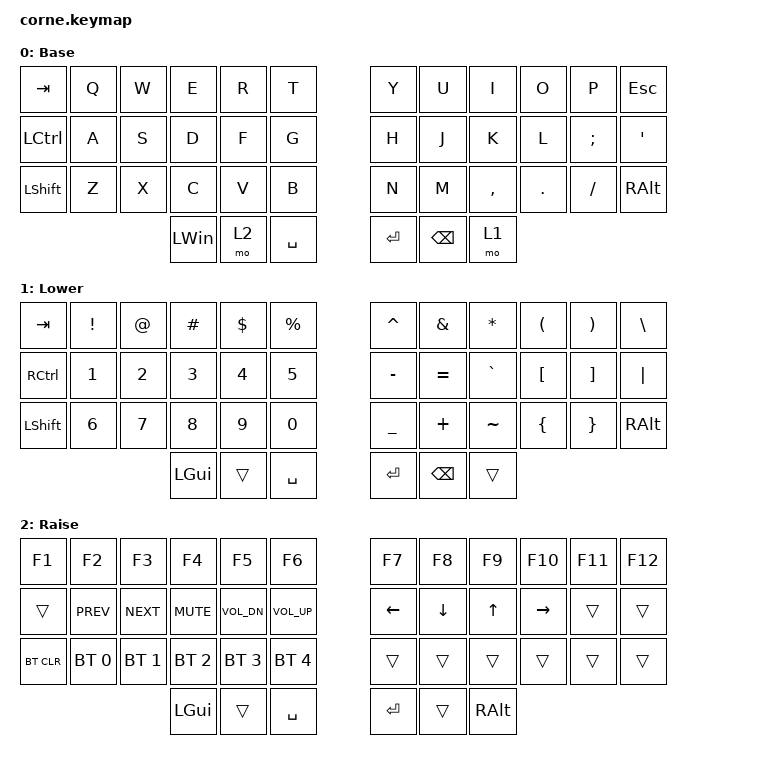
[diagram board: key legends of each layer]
/*
 * Copyright (c) 2020 The ZMK Contributors
 *
 * SPDX-License-Identifier: MIT
 */

#include <behaviors.dtsi>
#include <dt-bindings/zmk/bt.h>
#include <dt-bindings/zmk/keys.h>

/ {
    keymap {
        compatible = "zmk,keymap";

        default_layer {
            // -----------------------------------------------------------------------------------------
            // |  TAB |  Q  |  W  |  E  |  R  |  T  |   |  Y  |  U   |  I  |  O  |  P  | BKSP |
            // | CTRL |  A  |  S  |  D  |  F  |  G  |   |  H  |  J   |  K  |  L  |  ;  |  '   |
            // | SHFT |  Z  |  X  |  C  |  V  |  B  |   |  N  |  M   |  ,  |  .  |  /  | ESC  |
            //                    | GUI | LWR | SPC |   | ENT | RSE  | ALT |

            display-name = "Base";
            bindings = <
&kp TAB    &kp Q  &kp W  &kp E         &kp R  &kp T        &kp Y    &kp U          &kp I      &kp O    &kp P     &kp ESC
&kp LCTRL  &kp A  &kp S  &kp D         &kp F  &kp G        &kp H    &kp J          &kp K      &kp L    &kp SEMI  &kp SQT
&kp LSHFT  &kp Z  &kp X  &kp C         &kp V  &kp B        &kp N    &kp M          &kp COMMA  &kp DOT  &kp FSLH  &kp RIGHT_ALT
                         &kp LEFT_WIN  &mo 2  &kp SPACE    &kp RET  &kp BACKSPACE  &mo 1
            >;
        };

        lower_layer {
            // -----------------------------------------------------------------------------------------
            // |  TAB |  1  |  2  |  3  |  4  |  5  |   |  6  |  7  |  8  |  9  |  0  | BKSP |
            // | BTCLR| BT1 | BT2 | BT3 | BT4 | BT5 |   | LFT | DWN |  UP | RGT |     |      |
            // | SHFT |     |     |     |     |     |   |     |     |     |     |     |      |
            //                    | GUI |     | SPC |   | ENT |     | ALT |

            display-name = "Lower";
            bindings = <
&kp TAB    &kp EXCLAMATION  &kp AT_SIGN   &kp HASH      &kp DOLLAR    &kp PERCENT    &kp CARET       &kp AMPERSAND  &kp ASTERISK  &kp LEFT_PARENTHESIS  &kp RIGHT_PARENTHESIS  &kp BACKSLASH
&kp RCTRL  &kp NUMBER_1     &kp NUMBER_2  &kp NUMBER_3  &kp NUMBER_4  &kp N5         &kp MINUS       &kp EQUAL      &kp GRAVE     &kp LEFT_BRACKET      &kp RIGHT_BRACKET      &kp PIPE
&kp LSHFT  &kp NUMBER_6     &kp N7        &kp N8        &kp N9        &kp N0         &kp UNDERSCORE  &kp PLUS       &kp TILDE     &kp LEFT_BRACE        &kp RIGHT_BRACE        &kp RIGHT_ALT
                                          &kp LGUI      &trans        &kp SPACE      &kp RET         &kp BACKSPACE  &trans
            >;
        };

        raise_layer {
            // -----------------------------------------------------------------------------------------
            // |  TAB |  !  |  @  |  #  |  $  |  %  |   |  ^  |  &  |  *  |  (  |  )  | BKSP |
            // | CTRL |     |     |     |     |     |   |  -  |  =  |  [  |  ]  |  \  |  `   |
            // | SHFT |     |     |     |     |     |   |  _  |  +  |  {  |  }  | "|" |  ~   |
            //                    | GUI |     | SPC |   | ENT |     | ALT |

            display-name = "Raise";
            bindings = <
&kp F1      &kp F2        &kp F3        &kp F4        &kp F5        &kp F6             &kp F7    &kp F8    &kp F9        &kp F10    &kp F11  &kp F12
&trans      &kp K_PREV    &kp K_NEXT    &kp K_MUTE    &kp C_VOL_DN  &kp C_VOLUME_UP    &kp LEFT  &kp DOWN  &kp UP_ARROW  &kp RIGHT  &trans   &trans
&bt BT_CLR  &bt BT_SEL 0  &bt BT_SEL 1  &bt BT_SEL 2  &bt BT_SEL 3  &bt BT_SEL 4       &trans    &trans    &trans        &trans     &trans   &trans
                                        &kp LGUI      &trans        &kp SPACE          &kp RET   &trans    &kp RALT
            >;
        };

        extra_1 { status = "reserved"; };

        extra_2 { status = "reserved"; };

        extra_3 { status = "reserved"; };
    };
};
